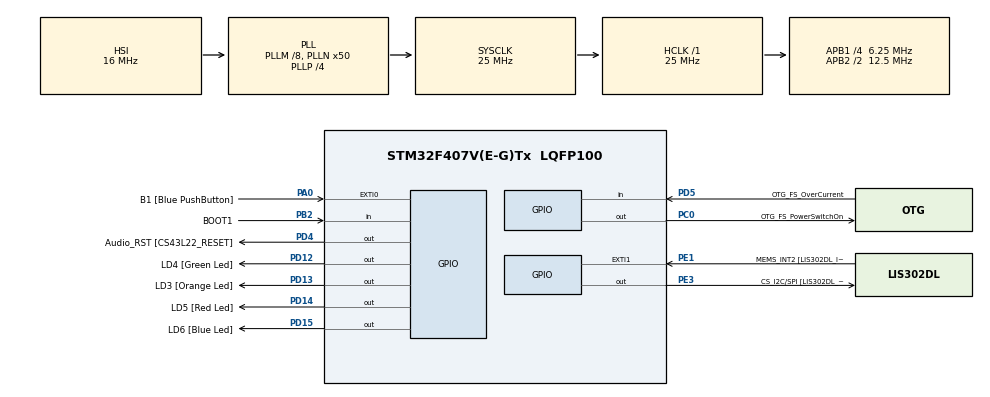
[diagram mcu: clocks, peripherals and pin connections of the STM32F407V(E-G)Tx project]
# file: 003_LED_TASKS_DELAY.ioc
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Mcu.Family=STM32F4
Mcu.Name=STM32F407V(E-G)Tx
Mcu.Package=LQFP100
NVIC.PriorityGroup=NVIC_PRIORITYGROUP_0
NVIC.TIM6_DAC_IRQn=true\:0\:0\:false\:false\:true\:true\:true\:true
NVIC.TimeBase=TIM6_DAC_IRQn
NVIC.TimeBaseIP=TIM6
PA0-WKUP.GPIO_Label=B1 [Blue PushButton]
PA0-WKUP.Signal=GPXTI0
PA10.GPIO_Label=OTG_FS_ID
PA10.GPIO_Mode=GPIO_MODE_AF_PP
PA10.GPIO_PuPd=GPIO_NOPULL
PA10.GPIO_Speed=GPIO_SPEED_FREQ_LOW
PA10.Signal=USB_OTG_FS_ID
PA11.GPIO_Label=OTG_FS_DM
PA11.GPIO_Mode=GPIO_MODE_AF_PP
PA11.GPIO_PuPd=GPIO_NOPULL
PA11.GPIO_Speed=GPIO_SPEED_FREQ_LOW
PA11.Signal=USB_OTG_FS_DM
PA12.GPIO_Label=OTG_FS_DP
PA12.GPIO_Mode=GPIO_MODE_AF_PP
PA12.GPIO_PuPd=GPIO_NOPULL
PA12.GPIO_Speed=GPIO_SPEED_FREQ_LOW
PA12.Signal=USB_OTG_FS_DP
PA13.GPIO_Label=SWDIO
PA13.Signal=SYS_JTMS-SWDIO
PA14.GPIO_Label=SWCLK
PA14.Signal=SYS_JTCK-SWCLK
PA4.GPIO_Label=I2S3_WS [CS43L22_LRCK]
PA4.GPIO_Mode=GPIO_MODE_AF_PP
PA4.GPIO_PuPd=GPIO_NOPULL
PA4.GPIO_Speed=GPIO_SPEED_FREQ_LOW
PA4.Signal=I2S3_WS
PA5.GPIO_Label=SPI1_SCK [LIS302DL_SCL/SPC]
PA5.GPIO_Mode=GPIO_MODE_AF_PP
PA5.GPIO_PuPd=GPIO_NOPULL
PA5.GPIO_Speed=GPIO_SPEED_FREQ_LOW
PA5.Signal=SPI1_SCK
PA6.GPIO_Label=SPI1_MISO [LIS302DL_SDO]
PA6.GPIO_Mode=GPIO_MODE_AF_PP
PA6.GPIO_PuPd=GPIO_NOPULL
PA6.GPIO_Speed=GPIO_SPEED_FREQ_LOW
PA6.Signal=SPI1_MISO
PA7.GPIO_Label=SPI1_MOSI [LIS302DL_SDA/SDI/SDO]
PA7.GPIO_Mode=GPIO_MODE_AF_PP
PA7.GPIO_PuPd=GPIO_NOPULL
PA7.GPIO_Speed=GPIO_SPEED_FREQ_LOW
PA7.Signal=SPI1_MOSI
PA9.GPIO_Label=VBUS_FS
PA9.GPIO_Mode=GPIO_MODE_INPUT
PA9.GPIO_PuPd=GPIO_NOPULL
PA9.Signal=USB_OTG_FS_VBUS
PB10.GPIO_Label=CLK_IN [MP45DT02_CLK]
PB10.GPIO_Mode=GPIO_MODE_AF_PP
PB10.GPIO_PuPd=GPIO_NOPULL
PB10.GPIO_Speed=GPIO_SPEED_FREQ_LOW
PB10.Signal=I2S2_CK
PB2.GPIO_Label=BOOT1
PB2.GPIO_Mode=GPIO_MODE_INPUT
PB2.GPIO_PuPd=GPIO_NOPULL
PB2.Signal=GPIO_Input
PB3.GPIO_Label=SWO
PB3.Signal=SYS_JTDO-SWO
PB6.GPIO_Label=Audio_SCL [CS43L22_SCL]
PB6.GPIO_Mode=GPIO_MODE_AF_OD
PB6.GPIO_PuPd=GPIO_NOPULL
PB6.GPIO_Speed=GPIO_SPEED_FREQ_LOW
PB6.Signal=I2C1_SCL
PB9.GPIO_Label=Audio_SDA [CS43L22_SDA]
PB9.GPIO_Mode=GPIO_MODE_AF_OD
PB9.GPIO_PuPd=GPIO_NOPULL
PB9.GPIO_Speed=GPIO_SPEED_FREQ_LOW
PB9.Signal=I2C1_SDA
PC0.GPIO_Label=OTG_FS_PowerSwitchOn
PC0.GPIO_PuPd=GPIO_NOPULL
PC0.GPIO_Speed=GPIO_SPEED_FREQ_LOW
PC0.PinState=GPIO_PIN_SET
PC0.Signal=GPIO_Output
PC10.GPIO_Label=I2S3_SCK [CS43L22_SCLK]
PC10.GPIO_Mode=GPIO_MODE_AF_PP
PC10.GPIO_PuPd=GPIO_NOPULL
PC10.GPIO_Speed=GPIO_SPEED_FREQ_LOW
PC10.Signal=I2S3_CK
PC12.GPIO_Label=I2S3_SD [CS43L22_SDIN]
PC12.GPIO_Mode=GPIO_MODE_AF_PP
PC12.GPIO_PuPd=GPIO_NOPULL
PC12.GPIO_Speed=GPIO_SPEED_FREQ_LOW
PC12.Signal=I2S3_SD
PC14-OSC32_IN.GPIO_Label=PC14-OSC32_IN
PC14-OSC32_IN.Signal=RCC_OSC32_IN
PC15-OSC32_OUT.GPIO_Label=PC15-OSC32_OUT
PC15-OSC32_OUT.Signal=RCC_OSC32_OUT
PC3.GPIO_Label=PDM_OUT [MP45DT02_DOUT]
PC3.GPIO_Mode=GPIO_MODE_AF_PP
PC3.GPIO_PuPd=GPIO_NOPULL
PC3.GPIO_Speed=GPIO_SPEED_FREQ_LOW
PC3.Signal=I2S2_SD
PC7.GPIO_Label=I2S3_MCK [CS43L22_MCLK]
PC7.GPIO_Mode=GPIO_MODE_AF_PP
PC7.GPIO_PuPd=GPIO_NOPULL
PC7.GPIO_Speed=GPIO_SPEED_FREQ_LOW
PC7.Signal=I2S3_MCK
PD12.GPIO_Label=LD4 [Green Led]
PD12.GPIO_PuPd=GPIO_NOPULL
PD12.GPIO_Speed=GPIO_SPEED_FREQ_LOW
PD12.Signal=GPIO_Output
PD13.GPIO_Label=LD3 [Orange Led]
PD13.GPIO_PuPd=GPIO_NOPULL
PD13.GPIO_Speed=GPIO_SPEED_FREQ_LOW
PD13.Signal=GPIO_Output
PD14.GPIO_Label=LD5 [Red Led]
PD14.GPIO_PuPd=GPIO_NOPULL
PD14.GPIO_Speed=GPIO_SPEED_FREQ_LOW
PD14.Signal=GPIO_Output
PD15.GPIO_Label=LD6 [Blue Led]
PD15.GPIO_PuPd=GPIO_NOPULL
PD15.GPIO_Speed=GPIO_SPEED_FREQ_LOW
PD15.Signal=GPIO_Output
PD4.GPIO_Label=Audio_RST [CS43L22_RESET]
PD4.GPIO_PuPd=GPIO_NOPULL
PD4.GPIO_Speed=GPIO_SPEED_FREQ_LOW
PD4.Signal=GPIO_Output
PD5.GPIO_Label=OTG_FS_OverCurrent
PD5.GPIO_Mode=GPIO_MODE_INPUT
PD5.GPIO_PuPd=GPIO_NOPULL
PD5.Signal=GPIO_Input
PE1.GPIO_Label=MEMS_INT2 [LIS302DL_INT2]
PE1.GPIO_ModeDefaultEXTI=GPIO_MODE_EVT_RISING
PE1.GPIO_PuPd=GPIO_NOPULL
PE1.Signal=GPXTI1
PE3.GPIO_Label=CS_I2C/SPI [LIS302DL_CS_I2C/SPI]
PE3.GPIO_PuPd=GPIO_NOPULL
PE3.GPIO_Speed=GPIO_SPEED_FREQ_LOW
PE3.Signal=GPIO_Output
PH0-OSC_IN.GPIO_Label=PH0-OSC_IN
PH0-OSC_IN.Signal=RCC_OSC_IN
PH1-OSC_OUT.GPIO_Label=PH1-OSC_OUT
PH1-OSC_OUT.Signal=RCC_OSC_OUT
ProjectManager.HeapSize=0x200
ProjectManager.StackSize=0x400
ProjectManager.TargetToolchain=STM32CubeIDE
RCC.48MHZClocksFreq_Value=14285714.285714285
RCC.AHBFreq_Value=25000000
RCC.APB1CLKDivider=RCC_HCLK_DIV4
RCC.APB1Freq_Value=6250000
RCC.APB1TimFreq_Value=12500000
RCC.APB2CLKDivider=RCC_HCLK_DIV2
RCC.APB2Freq_Value=12500000
RCC.APB2TimFreq_Value=25000000
RCC.CortexFreq_Value=25000000
RCC.HCLKFreq_Value=25000000
RCC.HSE_VALUE=8000000
RCC.HSI_VALUE=16000000
RCC.LSE_VALUE=32768
RCC.PLLM=8
RCC.PLLN=50
RCC.PLLP=RCC_PLLP_DIV4
RCC.PLLQ=7
RCC.SYSCLKFreq_VALUE=25000000
RCC.SYSCLKSource=RCC_SYSCLKSOURCE_PLLCLK
RCC.VCOOutputFreq_Value=100000000
VP_SYS_VS_tim6.Mode=TIM6
board=STM32F407G-DISC1

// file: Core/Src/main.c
/* USER CODE BEGIN Header */
/**
  ******************************************************************************
  * @file           : main.c
  * @brief          : Main program body
  ******************************************************************************
  * @attention
  *
  * Copyright (c) 2026 STMicroelectronics.
  * All rights reserved.
  *
  * This software is licensed under terms that can be found in the LICENSE file
  * in the root directory of this software component.
  * If no LICENSE file comes with this software, it is provided AS-IS.
  *
  ******************************************************************************
  */
/* USER CODE END Header */
#include "main.h"

/* USER CODE BEGIN Includes */
#include "FreeRTOS.h"
#include "task.h"
#include <stdio.h>
/* USER CODE END Includes */

void SystemClock_Config(void);
static void MX_GPIO_Init(void);

/* USER CODE BEGIN 0 */
static void led_green_handler(void *parameters);
static void led_red_handler(void *parameters);
static void led_orange_handler(void *parameters);
void DWT_Init(void) {
    // Enable TRC (Trace)
    CoreDebug->DEMCR |= CoreDebug_DEMCR_TRCENA_Msk;
    // Reset and enable DWT cycle counter
    DWT->CYCCNT = 0;
    DWT->CTRL  |= DWT_CTRL_CYCCNTENA_Msk;
}
/* USER CODE END 0 */

int main(void)
{

  /* MCU Configuration--------------------------------------------------------*/

  /* Reset of all peripherals, Initializes the Flash interface and the Systick. */
  HAL_Init();

  /* Configure the system clock */
  SystemClock_Config();

  /* Initialize all configured peripherals */
  MX_GPIO_Init();
  /* USER CODE BEGIN 2 */
//  DWT_CTRL |= (1 << 0); // Enable the cycle counter
  NVIC_SetPriorityGrouping(0);
  DWT_Init();             // <-- here, before SystemView

  SEGGER_SYSVIEW_Conf();
  SEGGER_SYSVIEW_Start();
  TaskHandle_t * const task1_handle = NULL;
  TaskHandle_t * const task2_handle = NULL;
  TaskHandle_t * const task3_handle = NULL;

  BaseType_t status;
  status = xTaskCreate(led_green_handler, "LED_green_task", 200, NULL, 2, &task1_handle);
  configASSERT(status == pdPASS);

  status = xTaskCreate(led_red_handler, "LED_red_task", 200, NULL, 2, &task2_handle);
  configASSERT(status == pdPASS);

  status = xTaskCreate(led_orange_handler, "LED_orange_task", 200, NULL, 2, &task3_handle);
  configASSERT(status == pdPASS);

  //Start the freeRTOS task scheduler
  vTaskStartScheduler();
  /* USER CODE END 2 */

  /* Infinite loop */
  while (1)
  {

  }
}

void SystemClock_Config(void)
{
  RCC_OscInitTypeDef RCC_OscInitStruct = {0};
  RCC_ClkInitTypeDef RCC_ClkInitStruct = {0};

  /** Configure the main internal regulator output voltage
  */
  __HAL_RCC_PWR_CLK_ENABLE();
  __HAL_PWR_VOLTAGESCALING_CONFIG(PWR_REGULATOR_VOLTAGE_SCALE1);

  /** Initializes the RCC Oscillators according to the specified parameters
  * in the RCC_OscInitTypeDef structure.
  */
  RCC_OscInitStruct.OscillatorType = RCC_OSCILLATORTYPE_HSI;
  RCC_OscInitStruct.HSIState = RCC_HSI_ON;
  RCC_OscInitStruct.HSICalibrationValue = RCC_HSICALIBRATION_DEFAULT;
  RCC_OscInitStruct.PLL.PLLState = RCC_PLL_ON;
  RCC_OscInitStruct.PLL.PLLSource = RCC_PLLSOURCE_HSI;
  RCC_OscInitStruct.PLL.PLLM = 8;
  RCC_OscInitStruct.PLL.PLLN = 50;
  RCC_OscInitStruct.PLL.PLLP = RCC_PLLP_DIV4;
  RCC_OscInitStruct.PLL.PLLQ = 7;
  if (HAL_RCC_OscConfig(&RCC_OscInitStruct) != HAL_OK)
  {
    Error_Handler();
  }

  /** Initializes the CPU, AHB and APB buses clocks
  */
  RCC_ClkInitStruct.ClockType = RCC_CLOCKTYPE_HCLK|RCC_CLOCKTYPE_SYSCLK
                              |RCC_CLOCKTYPE_PCLK1|RCC_CLOCKTYPE_PCLK2;
  RCC_ClkInitStruct.SYSCLKSource = RCC_SYSCLKSOURCE_PLLCLK;
  RCC_ClkInitStruct.AHBCLKDivider = RCC_SYSCLK_DIV1;
  RCC_ClkInitStruct.APB1CLKDivider = RCC_HCLK_DIV4;
  RCC_ClkInitStruct.APB2CLKDivider = RCC_HCLK_DIV2;

  if (HAL_RCC_ClockConfig(&RCC_ClkInitStruct, FLASH_LATENCY_0) != HAL_OK)
  {
    Error_Handler();
  }
}

static void MX_GPIO_Init(void)
{
  GPIO_InitTypeDef GPIO_InitStruct = {0};

  /* GPIO Ports Clock Enable */
  __HAL_RCC_GPIOE_CLK_ENABLE();
  __HAL_RCC_GPIOC_CLK_ENABLE();
  __HAL_RCC_GPIOH_CLK_ENABLE();
  __HAL_RCC_GPIOA_CLK_ENABLE();
  __HAL_RCC_GPIOB_CLK_ENABLE();
  __HAL_RCC_GPIOD_CLK_ENABLE();

  /*Configure GPIO pin Output Level */
  HAL_GPIO_WritePin(CS_I2C_SPI_GPIO_Port, CS_I2C_SPI_Pin, GPIO_PIN_RESET);

  /*Configure GPIO pin Output Level */
  HAL_GPIO_WritePin(OTG_FS_PowerSwitchOn_GPIO_Port, OTG_FS_PowerSwitchOn_Pin, GPIO_PIN_SET);

  /*Configure GPIO pin Output Level */
  HAL_GPIO_WritePin(GPIOD, LD4_Pin|LD3_Pin|LD5_Pin|LD6_Pin
                          |Audio_RST_Pin, GPIO_PIN_RESET);

  /*Configure GPIO pin : CS_I2C_SPI_Pin */
  GPIO_InitStruct.Pin = CS_I2C_SPI_Pin;
  GPIO_InitStruct.Mode = GPIO_MODE_OUTPUT_PP;
  GPIO_InitStruct.Pull = GPIO_NOPULL;
  GPIO_InitStruct.Speed = GPIO_SPEED_FREQ_LOW;
  HAL_GPIO_Init(CS_I2C_SPI_GPIO_Port, &GPIO_InitStruct);

  /*Configure GPIO pin : OTG_FS_PowerSwitchOn_Pin */
  GPIO_InitStruct.Pin = OTG_FS_PowerSwitchOn_Pin;
  GPIO_InitStruct.Mode = GPIO_MODE_OUTPUT_PP;
  GPIO_InitStruct.Pull = GPIO_NOPULL;
  GPIO_InitStruct.Speed = GPIO_SPEED_FREQ_LOW;
  HAL_GPIO_Init(OTG_FS_PowerSwitchOn_GPIO_Port, &GPIO_InitStruct);

  /*Configure GPIO pin : PDM_OUT_Pin */
  GPIO_InitStruct.Pin = PDM_OUT_Pin;
  GPIO_InitStruct.Mode = GPIO_MODE_AF_PP;
  GPIO_InitStruct.Pull = GPIO_NOPULL;
  GPIO_InitStruct.Speed = GPIO_SPEED_FREQ_LOW;
  GPIO_InitStruct.Alternate = GPIO_AF5_SPI2;
  HAL_GPIO_Init(PDM_OUT_GPIO_Port, &GPIO_InitStruct);

  /*Configure GPIO pin : B1_Pin */
  GPIO_InitStruct.Pin = B1_Pin;
  GPIO_InitStruct.Mode = GPIO_MODE_IT_RISING;
  GPIO_InitStruct.Pull = GPIO_NOPULL;
  HAL_GPIO_Init(B1_GPIO_Port, &GPIO_InitStruct);

  /*Configure GPIO pin : I2S3_WS_Pin */
  GPIO_InitStruct.Pin = I2S3_WS_Pin;
  GPIO_InitStruct.Mode = GPIO_MODE_AF_PP;
  GPIO_InitStruct.Pull = GPIO_NOPULL;
  GPIO_InitStruct.Speed = GPIO_SPEED_FREQ_LOW;
  GPIO_InitStruct.Alternate = GPIO_AF6_SPI3;
  HAL_GPIO_Init(I2S3_WS_GPIO_Port, &GPIO_InitStruct);

  /*Configure GPIO pins : SPI1_SCK_Pin SPI1_MISO_Pin SPI1_MOSI_Pin */
  GPIO_InitStruct.Pin = SPI1_SCK_Pin|SPI1_MISO_Pin|SPI1_MOSI_Pin;
  GPIO_InitStruct.Mode = GPIO_MODE_AF_PP;
  GPIO_InitStruct.Pull = GPIO_NOPULL;
  GPIO_InitStruct.Speed = GPIO_SPEED_FREQ_LOW;
  GPIO_InitStruct.Alternate = GPIO_AF5_SPI1;
  HAL_GPIO_Init(GPIOA, &GPIO_InitStruct);

  /*Configure GPIO pin : BOOT1_Pin */
  GPIO_InitStruct.Pin = BOOT1_Pin;
  GPIO_InitStruct.Mode = GPIO_MODE_INPUT;
  GPIO_InitStruct.Pull = GPIO_NOPULL;
  HAL_GPIO_Init(BOOT1_GPIO_Port, &GPIO_InitStruct);

  /*Configure GPIO pin : CLK_IN_Pin */
  GPIO_InitStruct.Pin = CLK_IN_Pin;
  GPIO_InitStruct.Mode = GPIO_MODE_AF_PP;
  GPIO_InitStruct.Pull = GPIO_NOPULL;
  GPIO_InitStruct.Speed = GPIO_SPEED_FREQ_LOW;
  GPIO_InitStruct.Alternate = GPIO_AF5_SPI2;
  HAL_GPIO_Init(CLK_IN_GPIO_Port, &GPIO_InitStruct);

  /*Configure GPIO pins : LD4_Pin LD3_Pin LD5_Pin LD6_Pin
                           Audio_RST_Pin */
  GPIO_InitStruct.Pin = LD4_Pin|LD3_Pin|LD5_Pin|LD6_Pin
                          |Audio_RST_Pin;
  GPIO_InitStruct.Mode = GPIO_MODE_OUTPUT_PP;
  GPIO_InitStruct.Pull = GPIO_NOPULL;
  GPIO_InitStruct.Speed = GPIO_SPEED_FREQ_LOW;
  HAL_GPIO_Init(GPIOD, &GPIO_InitStruct);

  /*Configure GPIO pins : I2S3_MCK_Pin I2S3_SCK_Pin I2S3_SD_Pin */
  GPIO_InitStruct.Pin = I2S3_MCK_Pin|I2S3_SCK_Pin|I2S3_SD_Pin;
  GPIO_InitStruct.Mode = GPIO_MODE_AF_PP;
  GPIO_InitStruct.Pull = GPIO_NOPULL;
  GPIO_InitStruct.Speed = GPIO_SPEED_FREQ_LOW;
  GPIO_InitStruct.Alternate = GPIO_AF6_SPI3;
  HAL_GPIO_Init(GPIOC, &GPIO_InitStruct);

  /*Configure GPIO pin : VBUS_FS_Pin */
  GPIO_InitStruct.Pin = VBUS_FS_Pin;
  GPIO_InitStruct.Mode = GPIO_MODE_INPUT;
  GPIO_InitStruct.Pull = GPIO_NOPULL;
  HAL_GPIO_Init(VBUS_FS_GPIO_Port, &GPIO_InitStruct);

  /*Configure GPIO pins : OTG_FS_ID_Pin OTG_FS_DM_Pin OTG_FS_DP_Pin */
  GPIO_InitStruct.Pin = OTG_FS_ID_Pin|OTG_FS_DM_Pin|OTG_FS_DP_Pin;
  GPIO_InitStruct.Mode = GPIO_MODE_AF_PP;
  GPIO_InitStruct.Pull = GPIO_NOPULL;
  GPIO_InitStruct.Speed = GPIO_SPEED_FREQ_LOW;
  GPIO_InitStruct.Alternate = GPIO_AF10_OTG_FS;
  HAL_GPIO_Init(GPIOA, &GPIO_InitStruct);

  /*Configure GPIO pin : OTG_FS_OverCurrent_Pin */
  GPIO_InitStruct.Pin = OTG_FS_OverCurrent_Pin;
  GPIO_InitStruct.Mode = GPIO_MODE_INPUT;
  GPIO_InitStruct.Pull = GPIO_NOPULL;
  HAL_GPIO_Init(OTG_FS_OverCurrent_GPIO_Port, &GPIO_InitStruct);

  /*Configure GPIO pins : Audio_SCL_Pin Audio_SDA_Pin */
  GPIO_InitStruct.Pin = Audio_SCL_Pin|Audio_SDA_Pin;
  GPIO_InitStruct.Mode = GPIO_MODE_AF_OD;
  GPIO_InitStruct.Pull = GPIO_NOPULL;
  GPIO_InitStruct.Speed = GPIO_SPEED_FREQ_LOW;
  GPIO_InitStruct.Alternate = GPIO_AF4_I2C1;
  HAL_GPIO_Init(GPIOB, &GPIO_InitStruct);

  /*Configure GPIO pin : MEMS_INT2_Pin */
  GPIO_InitStruct.Pin = MEMS_INT2_Pin;
  GPIO_InitStruct.Mode = GPIO_MODE_EVT_RISING;
  GPIO_InitStruct.Pull = GPIO_NOPULL;
  HAL_GPIO_Init(MEMS_INT2_GPIO_Port, &GPIO_InitStruct);

}

/* USER CODE BEGIN 4 */
static void led_green_handler(void *parameters){
	TickType_t xLastWakeTime = xTaskGetTickCount();

	while(1){
		HAL_GPIO_TogglePin(GPIOD, GPIO_PIN_12);
//		HAL_Delay(1000);
//		vTaskDelay(pdMS_TO_TICKS(3000));
		vTaskDelayUntil(&xLastWakeTime,pdMS_TO_TICKS(1000));
	}
}
static void led_red_handler(void *parameters){
	TickType_t xLastWakeTime = xTaskGetTickCount();

	while(1){
		HAL_GPIO_TogglePin(GPIOD, GPIO_PIN_13);
//		HAL_Delay(5000);
//		vTaskDelay(pdMS_TO_TICKS(1000));
		vTaskDelayUntil(&xLastWakeTime,pdMS_TO_TICKS(1000));

	}
}

static void led_orange_handler(void *parameters){
	TickType_t xLastWakeTime = xTaskGetTickCount();
	while(1){
		HAL_GPIO_TogglePin(GPIOD, GPIO_PIN_14);
//		HAL_Delay(2000);

		vTaskDelayUntil(&xLastWakeTime,pdMS_TO_TICKS(1000));
	}
}
/* USER CODE END 4 */

void HAL_TIM_PeriodElapsedCallback(TIM_HandleTypeDef *htim)
{
  if (htim->Instance == TIM6)
  {
    HAL_IncTick();
  }
}

void Error_Handler(void)
{
  __disable_irq();
  while (1)
  {
  }
}
